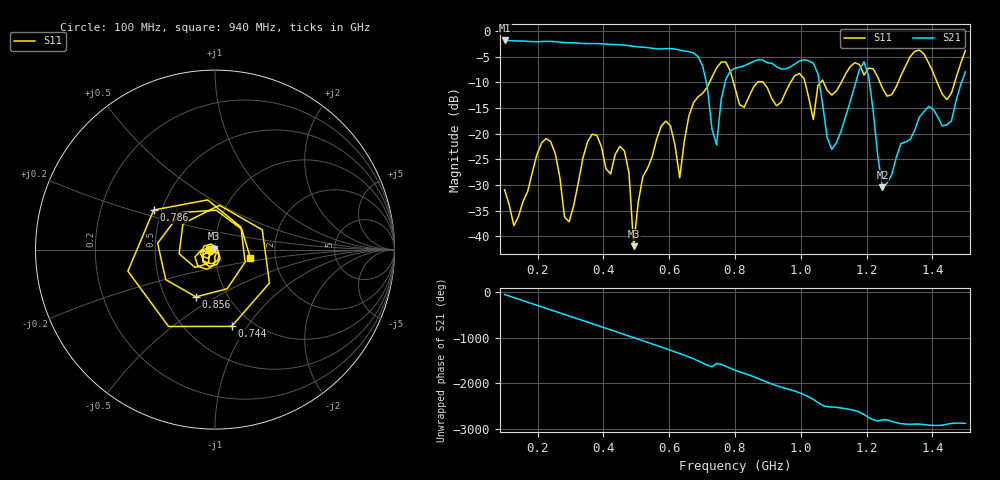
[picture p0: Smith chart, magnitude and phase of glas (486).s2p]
! NanoVNA-App
! Date: 2025-09-25 15:59:15
! Start: 100MHz Stop: 1,5GHz Points: 101
! S-Parameter data: F S11 S21 S12 S22
# Hz S RI R 50
!  Frequency  S11_Real  S11_Imag  S21_Real  S21_Imag  S12_Real  S12_Imag  S22_Real  S22_Imag
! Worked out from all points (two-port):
!   101 points, 100 MHz to 1.5 GHz, reference 50 ohm
!   highest |S21| = -1.80 dB at 100 MHz (marker M1); lowest = -30.5 dB at 1.248 GHz (marker M2)
!   |S21| within 3 dB of the highest: start of sweep to 684.4 MHz
!   lowest |S11| = -41.9 dB at 492 MHz (marker M3), VSWR 1.02, Z = 49.5 + j0.601 ohm
!   |S11| at or under -10 dB: start of sweep to 722.5 MHz; 795.4 MHz to 868.1 MHz (72.69 MHz wide, 8.74 % of centre); 885.8 MHz to 968.3 MHz (82.56 MHz wide, 8.91 % of centre) (the widest 3 of 7)
!   S12 and S22 are empty: the file has one direction only
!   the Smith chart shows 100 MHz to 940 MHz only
!   S11 on the Smith chart (normalised r, x): 100 MHz: 0.95, -0.01; 744 MHz: 0.80, -0.85; 786 MHz: 0.45, +0.24; 856 MHz: 0.71, -0.41; 940 MHz: 1.48, -0.14
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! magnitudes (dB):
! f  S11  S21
! 100 MHz  -30.9  -1.8
! 128 MHz  -37.9  -1.9
! 226 MHz  -20.9  -2.0
! 296 MHz  -37.2  -2.2
! 338 MHz  -24.7  -2.4
! 464 MHz  -23.3  -2.7
! 492 MHz  -41.9  -3.0
! 576 MHz  -18.5  -3.5
! 632 MHz  -28.6  -3.7
! 702 MHz  -12.1  -6.8
! 744 MHz  -7.2  -22.2
! 786 MHz  -7.8  -7.7
! 800 MHz  -11.1  -7.2
! 856 MHz  -10.9  -5.9
! 940 MHz  -13.9  -7.4
! 996 MHz  -8.2  -5.8
! 1.038 GHz  -17.2  -6.2
! 1.094 GHz  -12.4  -23.1
! 1.192 GHz  -8.5  -6.0
! 1.248 GHz  -11.1  -30.5
! 1.276 GHz  -12.4  -28.0
! 1.5 GHz  -3.7  -7.9
